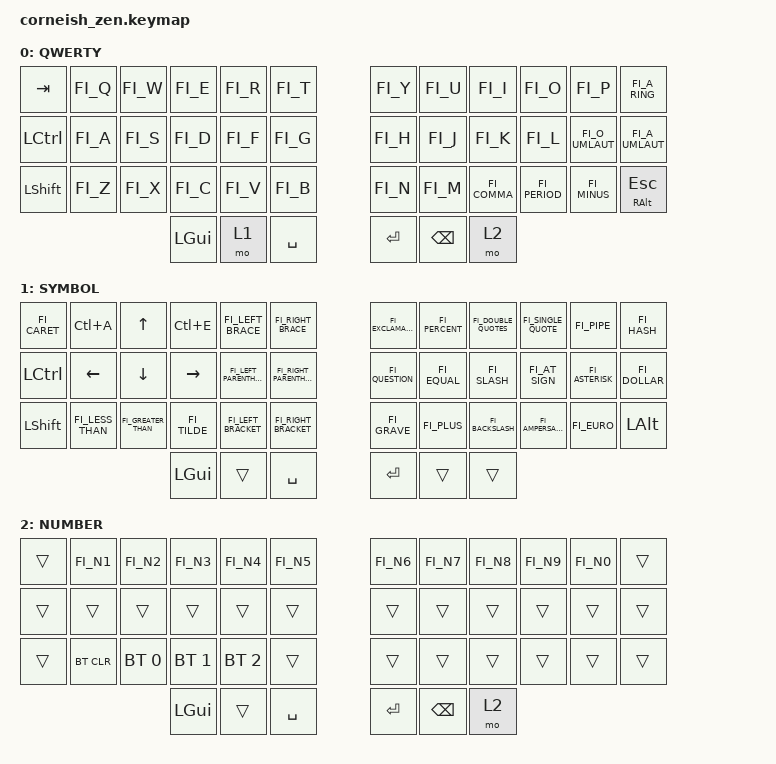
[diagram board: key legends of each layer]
#include <behaviors.dtsi>
#include <dt-bindings/zmk/keys.h>
#include <dt-bindings/zmk/bt.h>
#include "keys_fi.h"

/ {
  chosen {
    zmk,matrix_transform = &default_transform;
    //zmk,matrix_transform = &five_column_transform;
  };
};

/ {
        keymap {
                compatible = "zmk,keymap";

                default_layer {
                        label = "QWERTY";

// -----------------------------------------------------------------------------------------
// | TAB  |  Q  |  W  |  E  |  R  |  T  |   |  Y  |  U   |  I  |  O  |  P  |  Å   |
// | CTRL |  A  |  S  |  D  |  F  |  G  |   |  H  |  J   |  K  |  L  |  Ö  |  Ä   |
// | SHFT |  Z  |  X  |  C  |  V  |  B  |   |  N  |  M   |  ,  |  .  |  -  | ESC  |
//                    | GUI | LWR | SPC |   | ENT | BSPC | RSE |
                        bindings = <
   &kp TAB   &kp FI_Q &kp FI_W &kp FI_E &kp FI_R &kp FI_T    &kp FI_Y &kp FI_U  &kp FI_I     &kp FI_O      &kp FI_P        &kp FI_A_RING
   &kp LCTRL &kp FI_A &kp FI_S &kp FI_D &kp FI_F &kp FI_G    &kp FI_H &kp FI_J  &kp FI_K     &kp FI_L      &kp FI_O_UMLAUT &kp FI_A_UMLAUT
   &kp LSHFT &kp FI_Z &kp FI_X &kp FI_C &kp FI_V &kp FI_B    &kp FI_N &kp FI_M  &kp FI_COMMA &kp FI_PERIOD &kp FI_MINUS    &mt RALT ESC 
                               &kp LGUI &mo 1    &kp SPACE   &kp RET  &kp BSPC  &mo 2
                        >;
                };
                lower_layer {
                        label = "SYMBOL";
// -----------------------------------------------------------------------------------------
// |   ^   | CTRL+A |  UP  | CTRL+E |    {    |    }    |   |  !  |  %  |  "  |  '  |  |  |   #  |
// | BTCLR |  LEFT  | DOWN |  RIGHT |    (    |    )    |   |  ?  |  =  |  /  |  @  |  *  |   $  |
// |  SHFT |    <   |  >   |    ~   |    [    |    ]    |   |  `  |  +  |  \  |  &  |  €  |  ALT |
//                         |   GUI  |         |   SPC   |   | ENT |     | RSE |
                        bindings = <
   &kp FI_CARET &kp LC(A)        &kp UP              &kp LC(E)    &kp FI_LEFT_BRACE       &kp FI_RIGHT_BRACE         &kp FI_EXCLAMATION &kp FI_PERCENT &kp FI_DOUBLE_QUOTES &kp FI_SINGLE_QUOTE &kp FI_PIPE     &kp FI_HASH
   &kp LCTRL    &kp LEFT         &kp DOWN            &kp RIGHT    &kp FI_LEFT_PARENTHESIS &kp FI_RIGHT_PARENTHESIS   &kp FI_QUESTION    &kp FI_EQUAL   &kp FI_SLASH         &kp FI_AT_SIGN      &kp FI_ASTERISK &kp FI_DOLLAR
   &kp LSHFT    &kp FI_LESS_THAN &kp FI_GREATER_THAN &kp FI_TILDE &kp FI_LEFT_BRACKET     &kp FI_RIGHT_BRACKET       &kp FI_GRAVE       &kp FI_PLUS    &kp FI_BACKSLASH     &kp FI_AMPERSAND    &kp FI_EURO     &kp LALT
                                                     &kp LGUI     &trans                  &kp SPACE                  &kp RET            &trans         &trans
                        >;
                };

                raise_layer {
                        label = "NUMBER";
// -----------------------------------------------------------------------------------------
// |     |  1  |  2  |  3  |  4  |  5  |   |  6  |  7  |  8  |  9  |  0  |     |
// |     |     |     |     |     |     |   |     |     |     |     |     |     |
// |     | BTC | BT1 | BT2 | BT3 |     |   |     |     |     |     |     |     |
//                   | GUI |     | SPC |   | ENT |     | ALT |
                        bindings = <
   &trans &kp FI_N1  &kp FI_N2    &kp FI_N3    &kp FI_N4    &kp FI_N5   &kp FI_N6 &kp FI_N7  &kp FI_N8 &kp FI_N9 &kp FI_N0 &trans
   &trans &trans     &trans       &trans       &trans       &trans      &trans    &trans     &trans    &trans    &trans    &trans
   &trans &bt BT_CLR &bt BT_SEL 0 &bt BT_SEL 1 &bt BT_SEL 2 &trans      &trans    &trans     &trans    &trans    &trans    &trans
                                  &kp LGUI     &trans       &kp SPACE   &kp RET   &kp BSPC   &mo 2
                        >;
                };
        };
};
